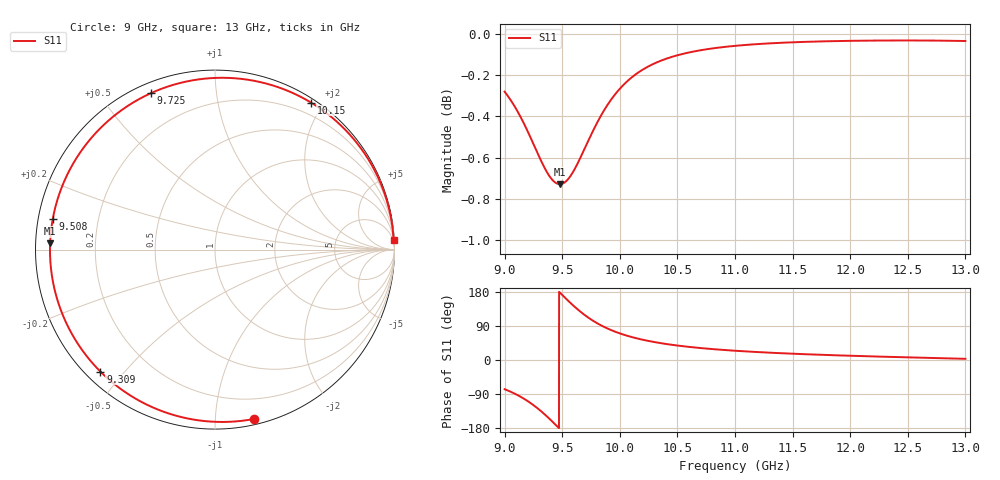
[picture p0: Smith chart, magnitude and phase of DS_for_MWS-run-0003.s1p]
! TOUCHSTONE file generated by CST DESIGN STUDIO
! Date and time: Wed Feb  5 13:42:17 2025
! Project name: C:\Work\MatlabApps\UnitCellOptimizationMatlab\CST\unitcell.cst
! Tree item: Tasks\Sweep1\SPara1\S-Parameters
! Header version: 2024
! Port assignment regex: !\s*Touchstone port\s*([0-9]+)\s*=\s*(CST MWS port|CST DES external port|CST DES block port)\s*(.+)\s* \(\"(.*)\"\)(\s*mode\s*([0-9]+))?.*
! Touchstone port assignment:
! Touchstone port 1 = CST DES external port 1 ("")
# GHz S MA R 50
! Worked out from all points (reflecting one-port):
!   4001 points, 9 GHz to 13 GHz, reference 50 ohm
!   lowest |S11| = -0.7 dB at 9.48 GHz (marker M1), VSWR 23.84, Z = 2.1 + j0.98 ohm
!   phase of S11 starts at -77 deg and turns -280 deg over the sweep
!   S11 on the Smith chart (normalised r, x): 9 GHz: 0.04, -1.26; 9.309 GHz: 0.04, -0.43; 9.508 GHz: 0.04, +0.09; 9.725 GHz: 0.04, +0.67; 10.15 GHz: 0.05, +1.85; 13 GHz: 3, +36
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9  0.9683 -77.0
9.078  0.9613 -87.4
9.176  0.9502 -103.7
9.245  0.9411 -117.8
9.309  0.9326 -133.2
9.354  0.9271 -145.1
9.402  0.9226 -158.8
9.442  0.9202 -170.7
9.48  0.9195 177.8
9.5  0.9197 171.7
9.508  0.9199 169.3
9.56  0.9227 153.9
9.62  0.9286 137.2
9.672  0.935 124.1
9.725  0.9419 112.2
9.78  0.9489 101.3
9.841  0.9559 90.8
9.919  0.9635 79.7
10  0.9699 70.2
10.151  0.9784 56.8
10.309  0.984 46.8
10.5  0.9883 38.2
10.722  0.9913 30.9
11  0.9935 24.4
11.5  0.9955 16.6
12  0.9963 11.2
12.5  0.9965 7.0
13  0.9962 3.2
